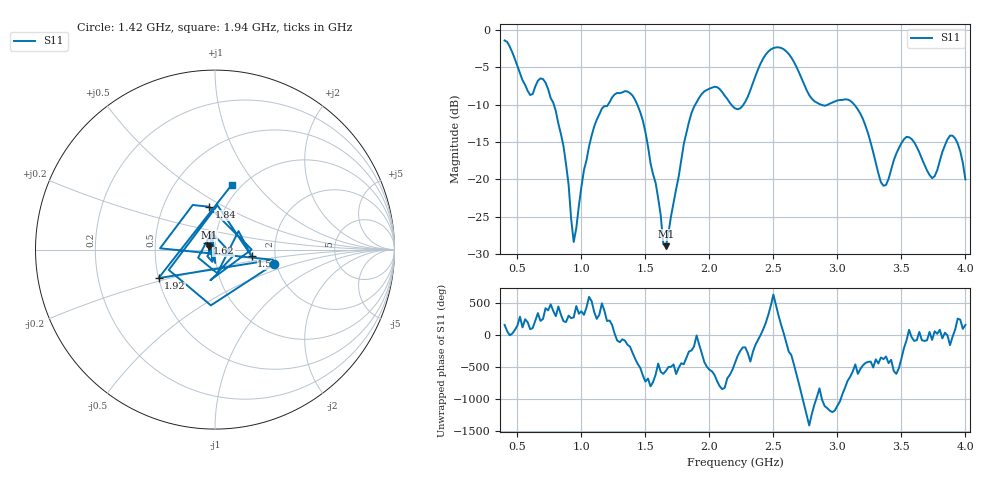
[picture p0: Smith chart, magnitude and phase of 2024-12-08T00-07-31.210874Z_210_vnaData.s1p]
!Created with skrf (http://scikit-rf.org).
# Hz S RI R 50.0
!freq ReS11 ImS11
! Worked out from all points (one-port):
!   181 points, 400 MHz to 4 GHz, reference 50 ohm
!   lowest |S11| = -29.0 dB at 1.66 GHz (marker M1), VSWR 1.07, Z = 46.8 + j1.27 ohm
!   |S11| at or under -10 dB: 785 MHz to 1.208 GHz (422.5 MHz wide, 42.4 % of centre); 1.437 GHz to 1.889 GHz (452.8 MHz wide, 27.2 % of centre); 3.132 GHz to end of sweep (the widest 3 of 5)
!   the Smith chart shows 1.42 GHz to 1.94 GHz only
!   S11 on the Smith chart (normalised r, x): 1.42 GHz: 1.94, -0.35; 1.5 GHz: 1.51, -0.12; 1.62 GHz: 0.91, +0.07; 1.84 GHz: 0.84, +0.42; 1.92 GHz: 0.50, -0.18; 1.94 GHz: 0.90, +0.76
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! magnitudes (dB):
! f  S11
! 400 MHz  -1.4
! 600 MHz  -8.7
! 720 MHz  -7.0
! 860 MHz  -15.6
! 940 MHz  -28.4
! 1.02 GHz  -18.8
! 1.1 GHz  -12.9
! 1.3 GHz  -8.5
! 1.42 GHz  -9.4
! 1.5 GHz  -13.7
! 1.62 GHz  -24.9
! 1.66 GHz  -29.0
! 1.76 GHz  -19.6
! 1.84 GHz  -12.3
! 1.92 GHz  -9.1
! 1.94 GHz  -8.6
! 2.06 GHz  -7.6
! 2.2 GHz  -10.5
! 2.48 GHz  -2.6
! 2.66 GHz  -4.3
! 2.82 GHz  -9.5
! 3.1 GHz  -9.5
! 3.2 GHz  -11.9
! 3.36 GHz  -20.9
! 3.56 GHz  -14.4
! 3.74 GHz  -19.8
! 3.9 GHz  -14.2
! 4 GHz  -20.0
